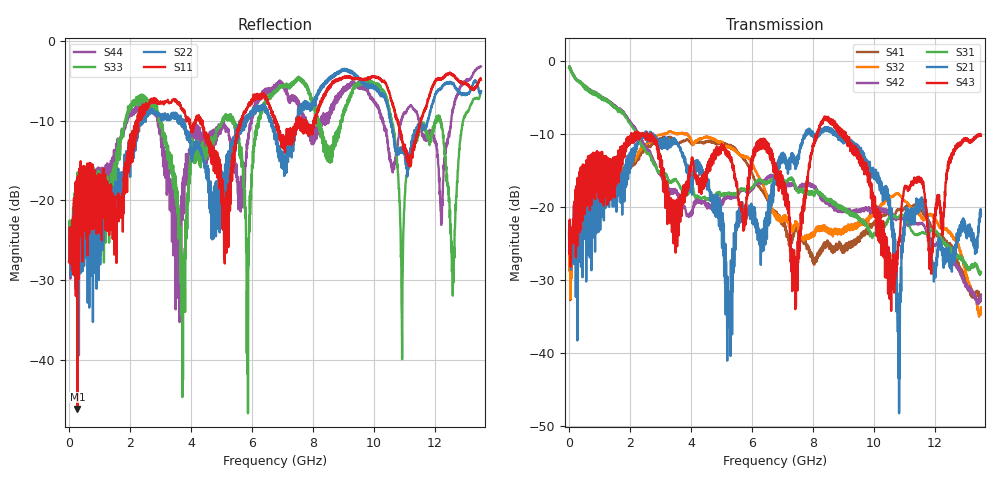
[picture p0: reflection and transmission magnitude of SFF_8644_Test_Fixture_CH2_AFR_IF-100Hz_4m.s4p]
!Keysight Technologies,N5231B,MY57181281,A.17.25.05
!Date: Friday, March 07, 2025 17:08:33
!Correction: S11(C  4-Port  )
!S12(C  4-Port  )
!S13(C  4-Port  )
!S14(C  4-Port  )
!S21(C  4-Port  )
!S22(C  4-Port  )
!S23(C  4-Port  )
!S24(C  4-Port  )
!S31(C  4-Port  )
!S32(C  4-Port  )
!S33(C  4-Port  )
!S34(C  4-Port  )
!S41(C  4-Port  )
!S42(C  4-Port  )
!S43(C  4-Port  )
!S44(C  4-Port  )
!S4P File: Measurements: <S11,S12,S13,S14>,
!<S21,S22,S23,S24>,
!<S31,S32,S33,S34>,
!<S41,S42,S43,S44>:
# Hz S  dB  R 50
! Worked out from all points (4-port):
!   1350 points, 10 MHz to 13.5 GHz, reference 50 ohm
!   strongest paths, dB at 10 MHz, 3.38 GHz, 6.76 GHz, 10.13 GHz, 13.5 GHz:
!     S43: -23.4, -23.4, -16.0, -20.3, -10.3
!     S21: -26.0, -11.1, -16.8, -15.3, -20.9
!     S31: -0.9, -16.4, -16.3, -23.4, -29.0
!     S42: -0.9, -17.6, -16.0, -20.4, -32.0
!     S32: -23.7, -9.8, -20.8, -20.2, -33.8
!     S41: -23.7, -10.8, -20.6, -21.8, -32.2
!   lowest |S11| = -46.2 dB at 280 MHz (marker M1), VSWR 1.01, Z = 49.6 + j0.322 ohm
!   |S11| at or under -10 dB: start of sweep to 2.21 GHz; 4.38 GHz to 5.629 GHz (1.249 GHz wide, 25 % of centre); 10.79 GHz to 11.53 GHz (741.8 MHz wide, 6.65 % of centre)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
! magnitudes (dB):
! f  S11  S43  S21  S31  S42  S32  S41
! 10 MHz  -27.7  -23.4  -26.0  -0.9  -0.9  -23.7  -23.7
! 280 MHz  -46.2  -25.3  -38.3  -2.6  -2.6  -22.4  -22.5
! 5.3 GHz  -20.4  -13.2  -40.4  -18.3  -18.9  -11.8  -11.5
! 5.86 GHz  -8.2  -18.4  -20.3  -17.7  -18.1  -13.1  -14.2
! 9.76 GHz  -4.8  -14.7  -14.0  -22.4  -20.1  -21.6  -23.0
! 12.58 GHz  -4.3  -12.7  -27.2  -26.3  -27.3  -24.0  -25.5
! 13.5 GHz  -4.8  -10.3  -20.9  -29.0  -32.0  -33.8  -32.2
